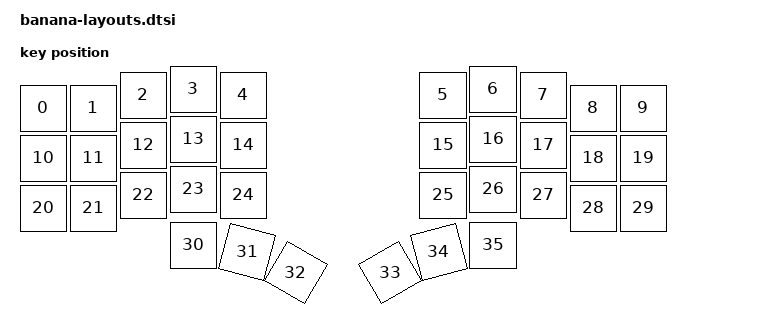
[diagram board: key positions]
#include <physical_layouts.dtsi>

/ {
    chosen {
        zmk,kscan = &kscan0;
        zmk,physical-layout = &physical_layout0;
        // Other chosen items
    };
};

/ {
    physical_layout0: physical_layout_0 {
        compatible = "zmk,physical-layout";
        display-name = "Default Layout";

        kscan = <&kscan0>;
        transform = <&matrix_transform0>;

        keys  //                     w   h    x    y     rot    rx    ry
            = <&key_physical_attrs 100 100    0   38       0     0     0>
            , <&key_physical_attrs 100 100  100   38       0     0     0>
            , <&key_physical_attrs 100 100  200   12       0     0     0>
            , <&key_physical_attrs 100 100  300    0       0     0     0>
            , <&key_physical_attrs 100 100  400   12       0     0     0>
            , <&key_physical_attrs 100 100  800   12       0     0     0>
            , <&key_physical_attrs 100 100  900    0       0     0     0>
            , <&key_physical_attrs 100 100 1000   12       0     0     0>
            , <&key_physical_attrs 100 100 1100   38       0     0     0>
            , <&key_physical_attrs 100 100 1200   38       0     0     0>
            , <&key_physical_attrs 100 100    0  138       0     0     0>
            , <&key_physical_attrs 100 100  100  138       0     0     0>
            , <&key_physical_attrs 100 100  200  112       0     0     0>
            , <&key_physical_attrs 100 100  300  100       0     0     0>
            , <&key_physical_attrs 100 100  400  112       0     0     0>
            , <&key_physical_attrs 100 100  800  112       0     0     0>
            , <&key_physical_attrs 100 100  900  100       0     0     0>
            , <&key_physical_attrs 100 100 1000  112       0     0     0>
            , <&key_physical_attrs 100 100 1100  138       0     0     0>
            , <&key_physical_attrs 100 100 1200  138       0     0     0>
            , <&key_physical_attrs 100 100    0  238       0     0     0>
            , <&key_physical_attrs 100 100  100  238       0     0     0>
            , <&key_physical_attrs 100 100  200  212       0     0     0>
            , <&key_physical_attrs 100 100  300  200       0     0     0>
            , <&key_physical_attrs 100 100  400  212       0     0     0>
            , <&key_physical_attrs 100 100  800  212       0     0     0>
            , <&key_physical_attrs 100 100  900  200       0     0     0>
            , <&key_physical_attrs 100 100 1000  212       0     0     0>
            , <&key_physical_attrs 100 100 1100  238       0     0     0>
            , <&key_physical_attrs 100 100 1200  238       0     0     0>
            , <&key_physical_attrs 100 100  300  312       0     0     0>
            , <&key_physical_attrs 100 100  400  312    1500   400   400>
            , <&key_physical_attrs 100 100  500  312    3000   450   400>
            , <&key_physical_attrs 100 100  700  312 (-3000)   850   400>
            , <&key_physical_attrs 100 100  800  312 (-1500)   900   400>
            , <&key_physical_attrs 100 100  900  312       0     0     0>
            ;
    };
};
